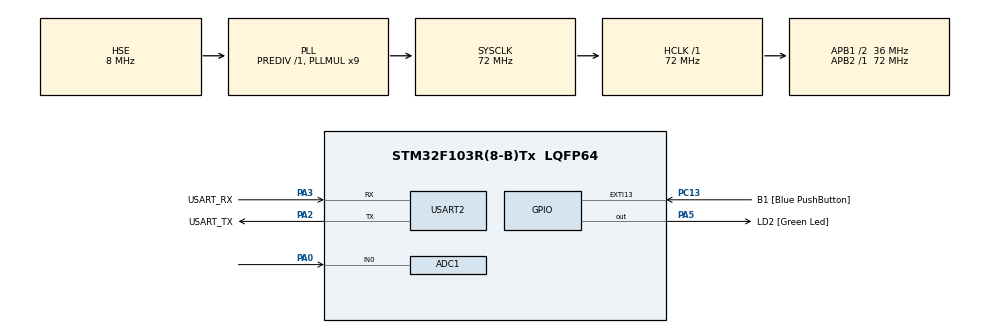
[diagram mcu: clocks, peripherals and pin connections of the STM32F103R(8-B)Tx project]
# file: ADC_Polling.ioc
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ADC1.Channel-0\#ChannelRegularConversion=ADC_CHANNEL_0
ADC1.Channel-1\#ChannelRegularConversion=ADC_CHANNEL_TEMPSENSOR
ADC1.DiscontinuousConvMode=ENABLE
ADC1.NbrOfConversion=2
ADC1.NbrOfConversionFlag=1
ADC1.Rank-0\#ChannelRegularConversion=1
ADC1.Rank-1\#ChannelRegularConversion=2
ADC1.SamplingTime-0\#ChannelRegularConversion=ADC_SAMPLETIME_13CYCLES_5
ADC1.SamplingTime-1\#ChannelRegularConversion=ADC_SAMPLETIME_13CYCLES_5
ADC1.master=1
Mcu.Family=STM32F1
Mcu.Name=STM32F103R(8-B)Tx
Mcu.Package=LQFP64
NVIC.EXTI15_10_IRQn=true\:0\:0\:false\:false\:true\:true\:true\:true
NVIC.PriorityGroup=NVIC_PRIORITYGROUP_4
PA0-WKUP.Signal=ADCx_IN0
PA13.GPIO_Label=TMS
PA13.Mode=Serial_Wire
PA13.Signal=SYS_JTMS-SWDIO
PA14.GPIO_Label=TCK
PA14.Mode=Serial_Wire
PA14.Signal=SYS_JTCK-SWCLK
PA2.GPIO_Label=USART_TX
PA2.GPIO_Mode=GPIO_MODE_AF_PP
PA2.GPIO_PuPd=GPIO_NOPULL
PA2.GPIO_Speed=GPIO_SPEED_FREQ_LOW
PA2.Mode=Asynchronous
PA2.Signal=USART2_TX
PA3.GPIO_Label=USART_RX
PA3.GPIO_Mode=GPIO_MODE_AF_PP
PA3.GPIO_PuPd=GPIO_NOPULL
PA3.GPIO_Speed=GPIO_SPEED_FREQ_LOW
PA3.Mode=Asynchronous
PA3.Signal=USART2_RX
PA5.GPIO_Label=LD2 [Green Led]
PA5.GPIO_ModeDefaultOutputPP=GPIO_MODE_OUTPUT_PP
PA5.GPIO_PuPd=GPIO_NOPULL
PA5.GPIO_Speed=GPIO_SPEED_FREQ_LOW
PA5.Signal=GPIO_Output
PB3.GPIO_Label=SWO
PB3.Signal=SYS_JTDO-TRACESWO
PC13-TAMPER-RTC.GPIO_Label=B1 [Blue PushButton]
PC13-TAMPER-RTC.GPIO_PuPd=GPIO_NOPULL
PC13-TAMPER-RTC.Signal=GPXTI13
PC14-OSC32_IN.Mode=LSE-External-Oscillator
PC14-OSC32_IN.Signal=RCC_OSC32_IN
PC15-OSC32_OUT.Mode=LSE-External-Oscillator
PC15-OSC32_OUT.Signal=RCC_OSC32_OUT
PD0-OSC_IN.Mode=HSE-External-Clock-Source
PD0-OSC_IN.Signal=RCC_OSC_IN
PD1-OSC_OUT.Mode=HSE-External-Clock-Source
PD1-OSC_OUT.Signal=RCC_OSC_OUT
ProjectManager.HeapSize=0x200
ProjectManager.StackSize=0x400
ProjectManager.TargetToolchain=STM32CubeIDE
RCC.ADCPresc=RCC_ADCPCLK2_DIV6
RCC.AHBFreq_Value=72000000
RCC.APB1CLKDivider=RCC_HCLK_DIV2
RCC.APB1Freq_Value=36000000
RCC.APB1TimFreq_Value=72000000
RCC.APB2Freq_Value=72000000
RCC.APB2TimFreq_Value=72000000
RCC.HCLKFreq_Value=72000000
RCC.PLLMUL=RCC_PLL_MUL9
RCC.PLLSourceVirtual=RCC_PLLSOURCE_HSE
RCC.RTCClockSelection=RCC_RTCCLKSOURCE_LSE
RCC.SYSCLKFreq_VALUE=72000000
RCC.SYSCLKSource=RCC_SYSCLKSOURCE_PLLCLK
RCC.USBFreq_Value=72000000
SH.ADCx_IN0.0=ADC1_IN0,IN0
USART2.VirtualMode=VM_ASYNC
VP_ADC1_TempSens_Input.Mode=IN-TempSens
board=NUCLEO-F103RB

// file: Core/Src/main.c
/* USER CODE BEGIN Header */
/**
  ******************************************************************************
  * @file           : main.c
  * @brief          : Main program body
  ******************************************************************************
  * @attention
  *
  * Copyright (c) 2024 STMicroelectronics.
  * All rights reserved.
  *
  * This software is licensed under terms that can be found in the LICENSE file
  * in the root directory of this software component.
  * If no LICENSE file comes with this software, it is provided AS-IS.
  *
  ******************************************************************************
  */
/* USER CODE END Header */
#include "main.h"

ADC_HandleTypeDef hadc1;

UART_HandleTypeDef huart2;

/* USER CODE BEGIN PV */
uint16_t ADC_value[2] = {0, 0};
float _volt = 0.0f;
float _temp = 0.0f;
/* USER CODE END PV */

void SystemClock_Config(void);
static void MX_GPIO_Init(void);
static void MX_USART2_UART_Init(void);
static void MX_ADC1_Init(void);

int main(void)
{

  /* MCU Configuration--------------------------------------------------------*/

  /* Reset of all peripherals, Initializes the Flash interface and the Systick. */
  HAL_Init();

  /* Configure the system clock */
  SystemClock_Config();

  /* Initialize all configured peripherals */
  MX_GPIO_Init();
  MX_USART2_UART_Init();
  MX_ADC1_Init();
  /* USER CODE BEGIN 2 */

  /* 1 - Initialize ADC peripheral */

  /* 2 - Start Calibration */
  if(HAL_ADCEx_Calibration_Start(&hadc1) != HAL_OK)
  {
	  Error_Handler();
  }

  /* USER CODE END 2 */

  /* Infinite loop */
  /* USER CODE BEGIN WHILE */

  /* 3 - Channel configuration (MX_ADC1_Init()) */
  while (1)
  {
	  for(uint8_t i = 0; i < 2; i++)
	  {
		  /* 4 - Start the conversion process */
		  if(HAL_ADC_Start(&hadc1) != HAL_OK)
		  {
			  Error_Handler();
		  }

		  /* 5 - Wait for the end of conversion */
		  HAL_ADC_PollForConversion(&hadc1, 100);

		  /* Check if the continuous conversion of regular channel is finished */
		  if((HAL_ADC_GetState(&hadc1) & HAL_ADC_STATE_REG_EOC) == HAL_ADC_STATE_REG_EOC)
		  {
			  /* 6 - Get the converted value of regular channel */
			  ADC_value[i] = HAL_ADC_GetValue(&hadc1);
		  }
	  }

	  _volt = ADC_value[0] * 3.3f / 4096.0f;
	  _temp = (1.43f - ADC_value[1] * 3.3f / 4096.0f) / 4.3E-03f + 25.0f;
    /* USER CODE END WHILE */

    /* USER CODE BEGIN 3 */

	  /* 7 - Stop the conversion process */
	  HAL_ADC_Stop(&hadc1);
	  HAL_Delay(1000);	// 1sec delay
  }
  /* USER CODE END 3 */
}

void SystemClock_Config(void)
{
  RCC_OscInitTypeDef RCC_OscInitStruct = {0};
  RCC_ClkInitTypeDef RCC_ClkInitStruct = {0};
  RCC_PeriphCLKInitTypeDef PeriphClkInit = {0};

  /** Initializes the RCC Oscillators according to the specified parameters
  * in the RCC_OscInitTypeDef structure.
  */
  RCC_OscInitStruct.OscillatorType = RCC_OSCILLATORTYPE_HSE;
  RCC_OscInitStruct.HSEState = RCC_HSE_BYPASS;
  RCC_OscInitStruct.HSEPredivValue = RCC_HSE_PREDIV_DIV1;
  RCC_OscInitStruct.HSIState = RCC_HSI_ON;
  RCC_OscInitStruct.PLL.PLLState = RCC_PLL_ON;
  RCC_OscInitStruct.PLL.PLLSource = RCC_PLLSOURCE_HSE;
  RCC_OscInitStruct.PLL.PLLMUL = RCC_PLL_MUL9;
  if (HAL_RCC_OscConfig(&RCC_OscInitStruct) != HAL_OK)
  {
    Error_Handler();
  }

  /** Initializes the CPU, AHB and APB buses clocks
  */
  RCC_ClkInitStruct.ClockType = RCC_CLOCKTYPE_HCLK|RCC_CLOCKTYPE_SYSCLK
                              |RCC_CLOCKTYPE_PCLK1|RCC_CLOCKTYPE_PCLK2;
  RCC_ClkInitStruct.SYSCLKSource = RCC_SYSCLKSOURCE_PLLCLK;
  RCC_ClkInitStruct.AHBCLKDivider = RCC_SYSCLK_DIV1;
  RCC_ClkInitStruct.APB1CLKDivider = RCC_HCLK_DIV2;
  RCC_ClkInitStruct.APB2CLKDivider = RCC_HCLK_DIV1;

  if (HAL_RCC_ClockConfig(&RCC_ClkInitStruct, FLASH_LATENCY_2) != HAL_OK)
  {
    Error_Handler();
  }
  PeriphClkInit.PeriphClockSelection = RCC_PERIPHCLK_ADC;
  PeriphClkInit.AdcClockSelection = RCC_ADCPCLK2_DIV6;
  if (HAL_RCCEx_PeriphCLKConfig(&PeriphClkInit) != HAL_OK)
  {
    Error_Handler();
  }
}

static void MX_ADC1_Init(void)
{

  ADC_ChannelConfTypeDef sConfig = {0};

  /** Common config
  */
  hadc1.Instance = ADC1;
  hadc1.Init.ScanConvMode = ADC_SCAN_ENABLE;
  hadc1.Init.ContinuousConvMode = DISABLE;
  hadc1.Init.DiscontinuousConvMode = ENABLE;
  hadc1.Init.NbrOfDiscConversion = 1;
  hadc1.Init.ExternalTrigConv = ADC_SOFTWARE_START;
  hadc1.Init.DataAlign = ADC_DATAALIGN_RIGHT;
  hadc1.Init.NbrOfConversion = 2;
  if (HAL_ADC_Init(&hadc1) != HAL_OK)
  {
    Error_Handler();
  }

  /** Configure Regular Channel
  */
  sConfig.Channel = ADC_CHANNEL_0;
  sConfig.Rank = ADC_REGULAR_RANK_1;
  sConfig.SamplingTime = ADC_SAMPLETIME_13CYCLES_5;
  if (HAL_ADC_ConfigChannel(&hadc1, &sConfig) != HAL_OK)
  {
    Error_Handler();
  }

  /** Configure Regular Channel
  */
  sConfig.Channel = ADC_CHANNEL_TEMPSENSOR;
  sConfig.Rank = ADC_REGULAR_RANK_2;
  if (HAL_ADC_ConfigChannel(&hadc1, &sConfig) != HAL_OK)
  {
    Error_Handler();
  }

}

static void MX_USART2_UART_Init(void)
{

  huart2.Instance = USART2;
  huart2.Init.BaudRate = 115200;
  huart2.Init.WordLength = UART_WORDLENGTH_8B;
  huart2.Init.StopBits = UART_STOPBITS_1;
  huart2.Init.Parity = UART_PARITY_NONE;
  huart2.Init.Mode = UART_MODE_TX_RX;
  huart2.Init.HwFlowCtl = UART_HWCONTROL_NONE;
  huart2.Init.OverSampling = UART_OVERSAMPLING_16;
  if (HAL_UART_Init(&huart2) != HAL_OK)
  {
    Error_Handler();
  }

}

static void MX_GPIO_Init(void)
{
  GPIO_InitTypeDef GPIO_InitStruct = {0};

  /* GPIO Ports Clock Enable */
  __HAL_RCC_GPIOC_CLK_ENABLE();
  __HAL_RCC_GPIOD_CLK_ENABLE();
  __HAL_RCC_GPIOA_CLK_ENABLE();
  __HAL_RCC_GPIOB_CLK_ENABLE();

  /*Configure GPIO pin Output Level */
  HAL_GPIO_WritePin(LD2_GPIO_Port, LD2_Pin, GPIO_PIN_RESET);

  /*Configure GPIO pin : B1_Pin */
  GPIO_InitStruct.Pin = B1_Pin;
  GPIO_InitStruct.Mode = GPIO_MODE_IT_RISING;
  GPIO_InitStruct.Pull = GPIO_NOPULL;
  HAL_GPIO_Init(B1_GPIO_Port, &GPIO_InitStruct);

  /*Configure GPIO pin : LD2_Pin */
  GPIO_InitStruct.Pin = LD2_Pin;
  GPIO_InitStruct.Mode = GPIO_MODE_OUTPUT_PP;
  GPIO_InitStruct.Pull = GPIO_NOPULL;
  GPIO_InitStruct.Speed = GPIO_SPEED_FREQ_LOW;
  HAL_GPIO_Init(LD2_GPIO_Port, &GPIO_InitStruct);

  /* EXTI interrupt init*/
  HAL_NVIC_SetPriority(EXTI15_10_IRQn, 0, 0);
  HAL_NVIC_EnableIRQ(EXTI15_10_IRQn);

}

void Error_Handler(void)
{
  __disable_irq();
  while (1)
  {
  }
}
